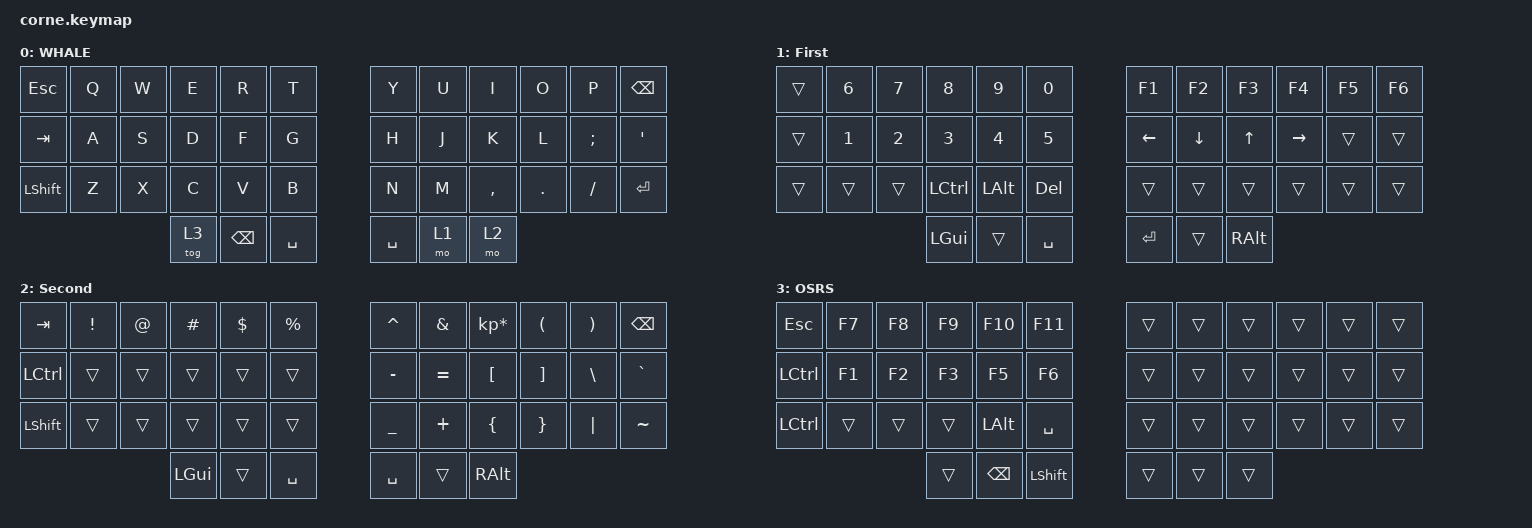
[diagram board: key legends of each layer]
/*
 * Copyright (c) 2020 The ZMK Contributors
 *
 * SPDX-License-Identifier: MIT
 */

#include <behaviors.dtsi>
#include <dt-bindings/zmk/keys.h>

/ {
    keymap {
        compatible = "zmk,keymap";

        Base {
            // -----------------------------------------------------------------------------------------
            // |  TAB |  Q  |  W  |  E  |  R  |  T  |   |  Y  |  U   |  I  |  O  |  P  | BKSP |
            // | CTRL |  A  |  S  |  D  |  F  |  G  |   |  H  |  J   |  K  |  L  |  ;  |  '   |
            // | SHFT |  Z  |  X  |  C  |  V  |  B  |   |  N  |  M   |  ,  |  .  |  /  | ESC  |
            //                    | GUI | LWR | SPC |   | ENT | RSE  | ALT |

            display-name = "WHALE";
            bindings = <
&kp ESCAPE  &kp Q  &kp W  &kp E   &kp R          &kp T        &kp Y      &kp U  &kp I      &kp O    &kp P     &kp BSPC
&kp TAB     &kp A  &kp S  &kp D   &kp F          &kp G        &kp H      &kp J  &kp K      &kp L    &kp SEMI  &kp SQT
&kp LSHFT   &kp Z  &kp X  &kp C   &kp V          &kp B        &kp N      &kp M  &kp COMMA  &kp DOT  &kp FSLH  &kp ENTER
                          &tog 3  &kp BACKSPACE  &kp SPACE    &kp SPACE  &mo 1  &mo 2
            >;
        };

        Lower {
            // -----------------------------------------------------------------------------------------
            // |  TAB |  1  |  2  |  3  |  4  |  5  |   |  6  |  7  |  8  |  9  |  0  | BKSP |
            // | BTCLR| BT1 | BT2 | BT3 | BT4 | BT5 |   | LFT | DWN |  UP | RGT |     |      |
            // | SHFT |     |     |     |     |     |   |     |     |     |     |     |      |
            //                    | GUI |     | SPC |   | ENT |     | ALT |

            display-name = "First";
            bindings = <
&trans  &kp NUMBER_6  &kp NUMBER_7  &kp NUMBER_8      &kp NUMBER_9  &kp NUMBER_0    &kp F1    &kp F2    &kp F3    &kp F4     &kp F5  &kp F6
&trans  &kp NUMBER_1  &kp NUMBER_2  &kp NUMBER_3      &kp NUMBER_4  &kp NUMBER_5    &kp LEFT  &kp DOWN  &kp UP    &kp RIGHT  &trans  &trans
&trans  &trans        &trans        &kp LEFT_CONTROL  &kp LEFT_ALT  &kp DELETE      &trans    &trans    &trans    &trans     &trans  &trans
                                    &kp LGUI          &trans        &kp SPACE       &kp RET   &trans    &kp RALT
            >;
        };

        Upper {
            // -----------------------------------------------------------------------------------------
            // |  TAB |  !  |  @  |  #  |  $  |  %  |   |  ^  |  &  |  *  |  (  |  )  | BKSP |
            // | CTRL |     |     |     |     |     |   |  -  |  =  |  [  |  ]  |  \  |  `   |
            // | SHFT |     |     |     |     |     |   |  _  |  +  |  {  |  }  | "|" |  ~   |
            //                    | GUI |     | SPC |   | ENT |     | ALT |

            display-name = "Second";
            bindings = <
&kp TAB    &kp EXCL  &kp AT  &kp HASH  &kp DLLR  &kp PRCNT    &kp CARET  &kp AMPS   &kp KP_MULTIPLY  &kp LPAR  &kp RPAR  &kp BSPC
&kp LCTRL  &trans    &trans  &trans    &trans    &trans       &kp MINUS  &kp EQUAL  &kp LBKT         &kp RBKT  &kp BSLH  &kp GRAVE
&kp LSHFT  &trans    &trans  &trans    &trans    &trans       &kp UNDER  &kp PLUS   &kp LBRC         &kp RBRC  &kp PIPE  &kp TILDE
                             &kp LGUI  &trans    &kp SPACE    &kp SPACE  &trans     &kp RALT
            >;
        };

        Gaming {
            bindings = <
&kp ESCAPE        &kp F7  &kp F8  &kp F9  &kp F10        &kp F11       &trans  &trans  &trans  &trans  &trans  &trans
&kp LEFT_CONTROL  &kp F1  &kp F2  &kp F3  &kp F5         &kp F6        &trans  &trans  &trans  &trans  &trans  &trans
&kp LEFT_CONTROL  &trans  &trans  &trans  &kp LEFT_ALT   &kp SPACE     &trans  &trans  &trans  &trans  &trans  &trans
                                  &trans  &kp BACKSPACE  &kp LSHIFT    &trans  &trans  &trans
            >;

            label = "OSRS";
        };
    };
};
